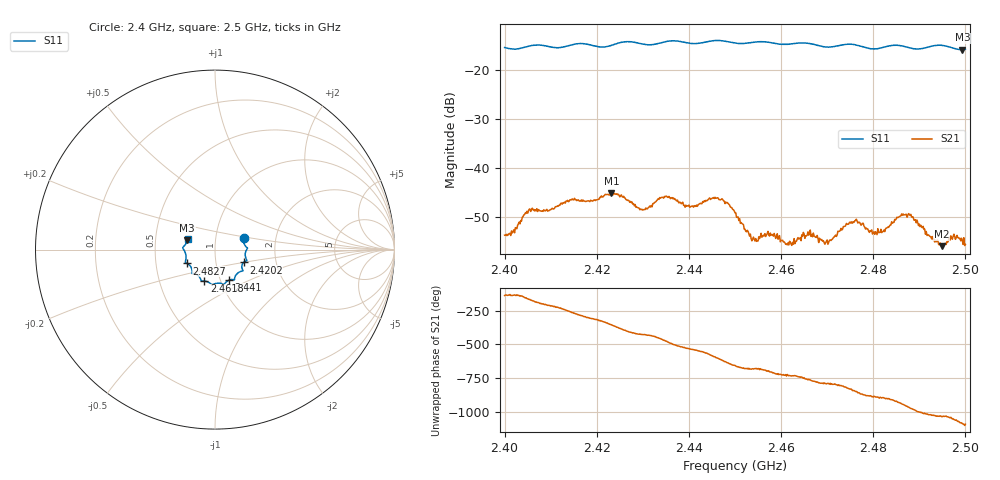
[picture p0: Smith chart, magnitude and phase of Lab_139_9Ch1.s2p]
# Hz S RI R 50
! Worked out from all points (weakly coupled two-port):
!   601 points, 2.4 GHz to 2.5 GHz, reference 50 ohm
!   highest |S21| = -45.10 dB at 2.4232 GHz (marker M1); lowest = -55.9 dB at 2.4948 GHz (marker M2)
!   lowest |S11| = -15.8 dB at 2.4993 GHz (marker M3), VSWR 1.39, Z = 36.5 + j3.81 ohm
!   |S11| at or under -10 dB: start of sweep to end of sweep
!   S12 and S22 are empty: the file has one direction only
!   S11 on the Smith chart (normalised r, x): 2.4 GHz: 1.36, +0.18; 2.4202 GHz: 1.36, -0.20; 2.441 GHz: 1.10, -0.39; 2.4618 GHz: 0.84, -0.30; 2.4827 GHz: 0.72, -0.11; 2.5 GHz: 0.73, +0.09
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2.4e9  0.1588 0.0628  -0.00147 -0.00146  0 0  0 0
2.405667e9  0.1779 0.0117  -0.00356 -0.000649  0 0  0 0
2.416667e9  0.1774 -0.0608  0.0012 0.00459  0 0  0 0
2.420167e9  0.1589 -0.0716  0.00348 0.00326  0 0  0 0
2.423167e9  0.1497 -0.0994  0.00552 0.000684  0 0  0 0
2.429833e9  0.1384 -0.1235  0.00154 -0.00348  0 0  0 0
2.433333e9  0.1119 -0.1508  -2.62e-05 -0.00489  0 0  0 0
2.441e9  0.0787 -0.1698  -0.004 -0.000126  0 0  0 0
2.445833e9  0.0502 -0.1952  -0.00268 0.00415  0 0  0 0
2.45e9  0.0288 -0.1875  0.00155 0.00315  0 0  0 0
2.454e9  -0.00741 -0.193  0.00157 0.0012  0 0  0 0
2.4575e9  -0.0224 -0.1912  0.00196 0.000553  0 0  0 0
2.461833e9  -0.059 -0.1755  0.00176 -0.000334  0 0  0 0
2.466667e9  -0.0789 -0.1684  0.00134 -0.00163  0 0  0 0
2.469833e9  -0.0936 -0.1452  0.000532 -0.00172  0 0  0 0
2.476e9  -0.1274 -0.1307  -0.00176 -0.00232  0 0  0 0
2.482667e9  -0.1557 -0.077  -0.0024 0.000163  0 0  0 0
2.483333e9  -0.1603 -0.0749  -0.00249 0.000114  0 0  0 0
2.488167e9  -0.1613 -0.0479  -0.000801 0.00328  0 0  0 0
2.494833e9  -0.1795 0.0121  0.00118 0.00108  0 0  0 0
2.499333e9  -0.1543 0.0508  0.00181 -0.000285  0 0  0 0
2.5e9  -0.1522 0.0604  0.00162 -0.000396  0 0  0 0
